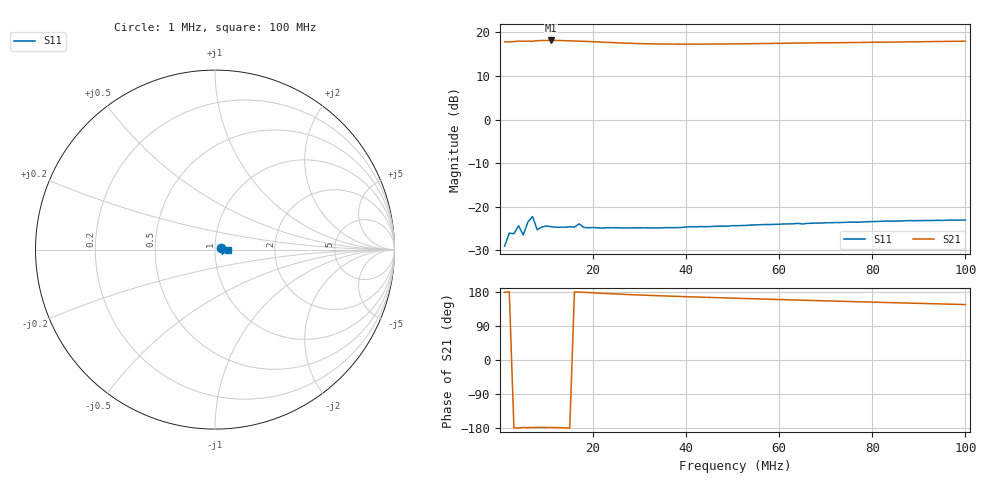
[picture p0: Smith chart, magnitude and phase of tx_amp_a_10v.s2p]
# HZ S RI R 50
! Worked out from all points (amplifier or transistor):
!   100 points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, 1 MHz to 100 MHz, reference 50 ohm
!   highest |S21| = 18.2 dB at 11 MHz (marker M1)
!   |S21| within 3 dB of that: start of sweep to end of sweep
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1000001  0.0343 0.00765  -7.799 0.1931  0 0  0 0
2000001  0.0424 -0.0259  -7.785 0.0063  0 0  0 0
3000001  0.0446 -0.0201  -7.845 -0.0932  0 0  0 0
4000001  0.0602 0.00361  -7.948 -0.0823  0 0  0 0
5000001  0.0415 -0.0226  -7.903 -0.2608  0 0  0 0
6000001  0.0662 -0.00694  -7.947 -0.2076  0 0  0 0
7000001  0.0748 -0.0186  -7.908 -0.2331  0 0  0 0
8000001  0.0542 -0.00266  -8.033 -0.3123  0 0  0 0
1.1e7  0.0587 0.00351  -8.079 -0.2752  0 0  0 0
1.4e7  0.058 0.0019  -8.038 -0.1379  0 0  0 0
1.7e7  0.0634 0.00214  -7.925 0.1212  0 0  0 0
1.8e7  0.0576 0.00287  -7.901 0.1908  0 0  0 0
2.2e7  0.0566 0.00344  -7.713 0.5371  0 0  0 0
2.7e7  0.0569 0.00417  -7.478 0.9117  0 0  0 0
3e7  0.0569 0.00434  -7.352 1.101  0 0  0 0
3.4e7  0.0567 0.00498  -7.246 1.328  0 0  0 0
4e7  0.0582 0.00529  -7.146 1.64  0 0  0 0
5.1e7  0.0602 0.00577  -7.063 2.178  0 0  0 0
6.4e7  0.0641 0.00468  -7.019 2.818  0 0  0 0
6.7e7  0.0644 0.00446  -6.973 2.945  0 0  0 0
8.4e7  0.068 0.000286  -6.796 3.709  0 0  0 0
1e8  0.07 -0.00395  -6.594 4.41  0 0  0 0
